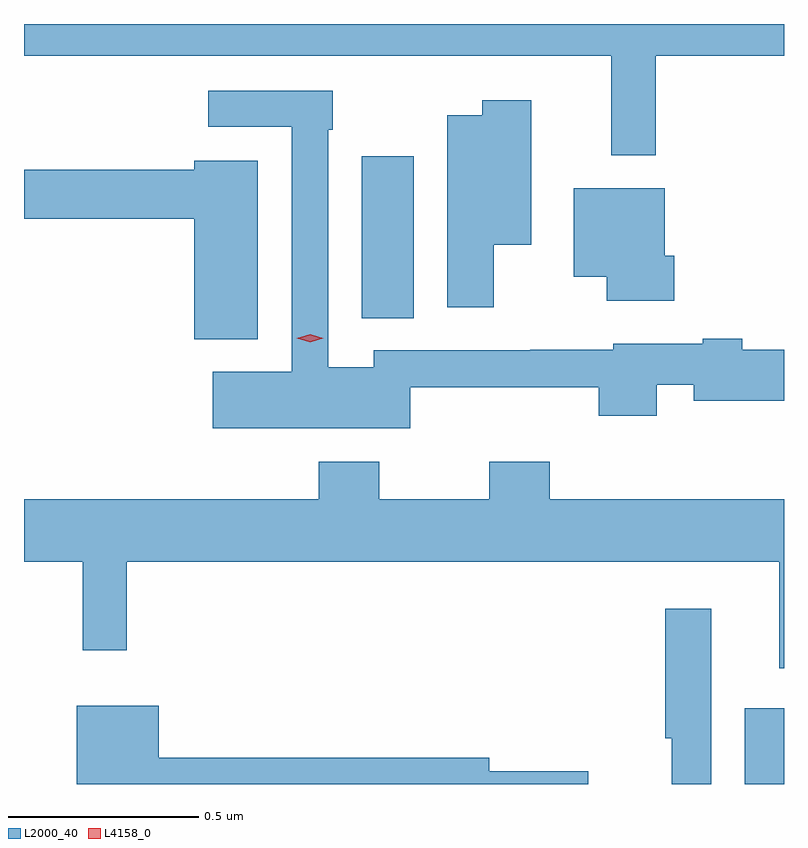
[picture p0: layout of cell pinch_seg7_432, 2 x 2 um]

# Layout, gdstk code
import gdstk
lib = gdstk.Library(unit=1e-6, precision=1e-09)
def R(c, l, rs):  # rectangles x0, y0, x1, y1
    for r in rs: c.add(gdstk.rectangle(r[:2], r[2:], *l))
def P(c, l, *ps):  # polygons
    for p in ps: c.add(gdstk.Polygon(p, *l))
L2000_40 = (2000, 40)
L4158_0 = (4158, 0)

pinch_seg7_432 = lib.new_cell('pinch_seg7_432')
R(pinch_seg7_432, L2000_40, [(522.899,1026.671,523.002,1026.871), (521.891,1027.897,522.028,1028.323)])
P(pinch_seg7_432, L2000_40, [(522.665,1028.588),(523.002,1028.588),(523.002,1028.671),(521.002,1028.671),(521.002,1028.588),(522.548,1028.588),(522.548,1028.325),(522.665,1028.325)],
  [(522.018,1027.715),(522.515,1027.715),(522.515,1027.64),(522.667,1027.64),(522.667,1027.722),(522.764,1027.722),(522.764,1027.679),(523.002,1027.679),(523.002,1027.814),(522.892,1027.814),(522.892,1027.843),(522.788,1027.843),(522.788,1027.83),(522.552,1027.83),(522.552,1027.814),(522.334,1027.814),(522.334,1027.812),(521.922,1027.812),(521.922,1027.768),(521.802,1027.768),(521.802,1028.393),(521.815,1028.393),(521.815,1028.496),(521.487,1028.496),(521.487,1028.4),(521.706,1028.4),(521.706,1027.756),(521.499,1027.756),(521.499,1027.607),(522.018,1027.607)],
  [(522.238,1028.09),(522.337,1028.09),(522.337,1028.47),(522.208,1028.47),(522.208,1028.431),(522.116,1028.431),(522.116,1027.926),(522.238,1027.926)],
  [(521.617,1028.311),(521.45,1028.311),(521.45,1028.287),(521.002,1028.287),(521.002,1028.158),(521.45,1028.158),(521.45,1027.841),(521.617,1027.841)],
  [(522.713,1028.061),(522.688,1028.061),(522.688,1028.239),(522.449,1028.239),(522.449,1028.006),(522.535,1028.006),(522.535,1027.943),(522.713,1027.943)],
  [(523.002,1027.42),(522.386,1027.42),(522.386,1027.519),(522.226,1027.519),(522.226,1027.42),(521.937,1027.42),(521.937,1027.519),(521.777,1027.519),(521.777,1027.42),(521.002,1027.42),(521.002,1027.256),(521.156,1027.256),(521.156,1027.023),(521.273,1027.023),(521.273,1027.256),(522.989,1027.256),(522.989,1026.975),(523.002,1026.975)],
  [(522.811,1027.132),(522.69,1027.132),(522.69,1026.791),(522.707,1026.791),(522.707,1026.671),(522.811,1026.671)],
  [(522.487,1026.704),(522.226,1026.704),(522.226,1026.74),(521.356,1026.74),(521.356,1026.877),(521.141,1026.877),(521.141,1026.671),(522.487,1026.671)])
P(pinch_seg7_432, L4158_0, [(521.755,1027.834),(521.72,1027.844),(521.72,1027.844),(521.72,1027.844),(521.755,1027.854),(521.79,1027.844),(521.79,1027.844),(521.79,1027.844)])

lib.write_gds('pinch_seg7_432.gds')
